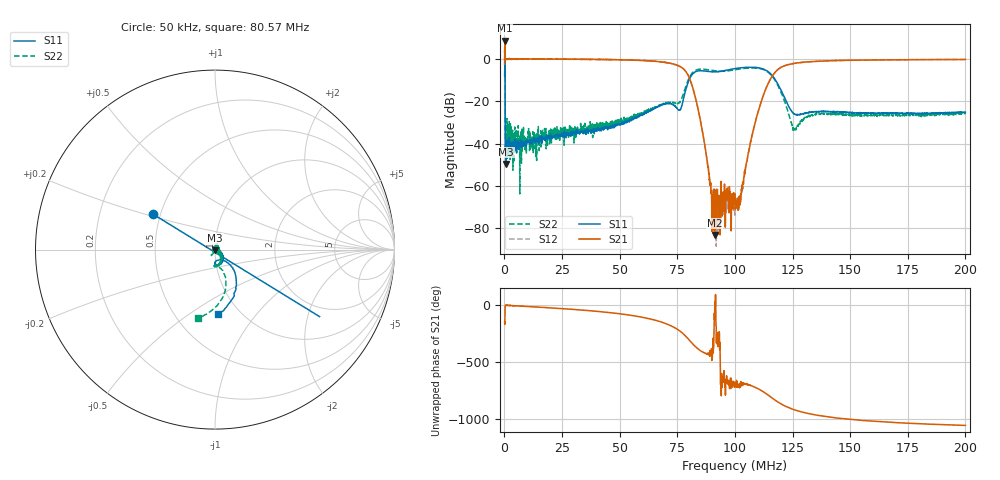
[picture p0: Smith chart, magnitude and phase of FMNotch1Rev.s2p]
! 19-Feb-26 1:03:45 PM
! E:\VNA_MEASUREMENTS\RECBLOCK\FMNOTCH1REV.S2P
! CHANNEL.1
! TR.MEASUREMENT
! CORRECTED.DATA
# GHZ S RI R 50.0
! FREQ.GHZ  S11RE  S11IM  S21RE  S21IM  S12RE  S12IM  S22RE  S22IM
!; PortSelection: Port_12
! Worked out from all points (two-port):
!   2000 points, 50 kHz to 200 MHz, reference 50 ohm
!   highest |S21| = 8.60 dB at 150 kHz (marker M1); lowest = -83.0 dB at 91.17 MHz (marker M2)
!   |S21| within 3 dB of the highest: 123.2 kHz to 281 kHz (157.8 kHz wide, 78.1 % of centre)
!   lowest |S11| = -49.6 dB at 650.1 kHz (marker M3), VSWR 1.01, Z = 50.1 - j0.316 ohm
!   |S11| at or under -10 dB: 280.7 kHz to 80.11 MHz (79.82 MHz wide, 199 % of centre); 117.6 MHz to end of sweep
!   |S22| runs from -63.7 to 8.6 dB; largest |S21 - S12| = 4.2
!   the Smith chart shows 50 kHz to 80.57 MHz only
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5e-05  -0.3469 0.1984  -0.6286 -0.3973  0.8542 -0.2542  0.1233 -1.371
0.000150025  0.5826 -0.3735  -2.639 -0.5327  1.493 -0.0844  -2.282 -1.448
0.00065015  0.000966 -0.00316  0.9759 -0.0341  0.9917 -0.0188  -0.00364 -0.0145
0.00145035  0.0074 -0.00226  1 -0.0343  0.9939 -0.0367  0.0135 -0.0037
0.004051001  0.0109 0.00185  0.9899 -0.0997  0.9905 -0.0799  0.00622 -0.00924
0.03345835  0.0185 -0.00263  0.7115 -0.6682  0.7122 -0.6652  0.0195 -0.00484
0.05486371  0.0314 -0.0137  0.0114 -0.9349  0.01 -0.9313  0.0314 -0.0294
0.06676668  0.0431 -0.0608  -0.6586 -0.5476  -0.6594 -0.5492  0.0304 -0.071
0.07606901  0.0212 -0.058  -0.454 0.486  -0.4505 0.4845  0.0184 -0.0956
0.08057014  0.018 -0.3614  0.2295 0.2224  0.2258 0.2206  -0.0958 -0.3796
0.08527131  -0.5163 0.0869  0.0214 -0.02  0.0214 -0.0202  -0.5486 0.1477
0.09117279  0.3018 0.3915  -4.41e-05 -5.49e-05  0.000184 0.00026  0.2504 0.458
0.09527381  0.4749 -0.2099  -0.00049 0.000349  0.000351 0.000512  0.4962 -0.114
0.100075  -0.0977 -0.5781  0.000393 0.000142  0.000362 2.7e-06  -0.0457 -0.5476
0.1022756  -0.3904 -0.4668  0.000443 0.000201  0.000426 0.000276  -0.3612 -0.447
0.1065766  -0.6248 0.0661  0.00937 0.00332  0.00906 0.00275  -0.5932 0.1117
0.1111778  -0.2349 0.5465  0.0794 -0.0407  0.0799 -0.0408  -0.1352 0.5635
0.1152788  0.2778 0.3596  0.0401 -0.3228  0.0407 -0.3223  0.3405 0.2758
0.1255814  0.0511 -0.00306  -0.7421 0.2358  -0.7393 0.2324  0.0205 -0.00264
0.1333833  0.0541 0.00833  -0.4548 0.7282  -0.4552 0.7298  0.0444 0.0187
0.1666917  0.0303 -0.043  0.5813 0.7473  0.5775 0.74  0.0362 -0.0262
0.2  0.0129 -0.0536  0.8818 0.3871  0.8817 0.3837  0.0273 -0.0457
